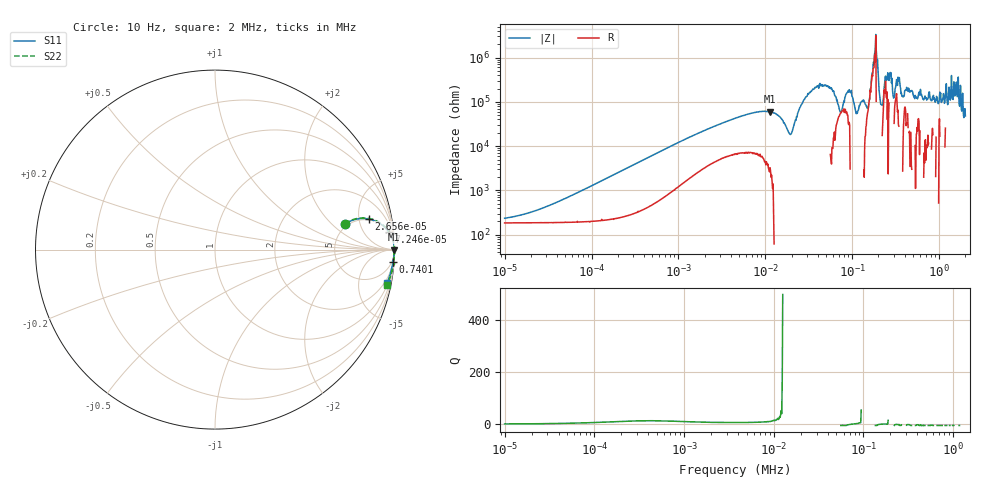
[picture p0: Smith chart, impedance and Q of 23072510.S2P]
!Agilent Technologies,E5061B,MY49204007,A.02.12
!Date: Wed Jul 23 11:12:25 2025
!Data & Calibration Information:
!Freq	S11:SOLT2(ON)	S21:SOLT2(ON)	S12:SOLT2(ON)	S22:SOLT2(ON)
# Hz S dB R 50
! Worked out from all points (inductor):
!   1040 points, 10 Hz to 2 MHz, reference 50 ohm
!   read as one part in series: L = 2.02 H near 44.94 Hz
!   highest Q = 20.3 at 11.18 kHz (marker M1), where L = 848 mH
!   self-resonance near 19.54 kHz
!   S11 on the Smith chart (normalised r, x): 10 Hz: 4.73, +2.91; 26.56 Hz: 4.78, +6.86; 72.46 Hz: 5, +18; 740.1 kHz: 2, -28; 2 MHz: 1, -10
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10  -2.66 11.1  -10.12 -27.1  -10.08 -27.1  -2.65 11.3
26.564  -1.18 11.3  -13.02 -50.0  -13.02 -50.0  -1.16 11.5
72.462  -0.24 5.8  -19.65 -72.1  -19.65 -72.0  -0.23 6.0
77.209  -0.22 5.5  -20.15 -73.1  -20.15 -73.0  -0.20 5.7
588.818  -0.01 0.8  -37.26 -84.6  -37.26 -84.5  0.00 1.0
4498.482  -0.01 0.1  -52.60 -80.8  -52.59 -80.6  0.01 0.3
11178.41  -0.01 -0.0  -55.51 -87.4  -55.56 -87.7  0.01 0.1
19544.76  -0.03 -0.1  -45.37 -172.7  -45.38 -172.6  -0.06 0.1
34305.13  -0.01 -0.2  -65.15 102.9  -65.07 104.2  0.01 0.0
54714.06  -0.01 -0.4  -66.81 90.3  -66.45 90.6  0.01 -0.1
73517.43  -0.06 -0.4  -55.17 14.0  -55.40 13.3  0.01 -0.3
92131.26  -0.01 -0.4  -65.51 -79.9  -65.24 -84.2  0.01 -0.4
112467.7  -0.01 -0.6  -55.29 170.7  -55.13 170.0  -0.04 -0.5
149553.9  -0.04 -0.9  -57.30 39.6  -57.45 41.7  0.00 -0.7
184157.1  -0.01 -1.0  -84.41 -62.0  -80.78 13.5  0.01 -0.9
215031.1  -0.02 -1.2  -58.84 117.2  -58.37 114.5  -0.03 -1.0
261946.5  -0.01 -1.4  -69.90 79.2  -70.30 85.4  -0.00 -1.3
339251.9  -0.02 -1.8  -69.78 82.6  -70.71 95.4  -0.00 -1.7
379744  -0.02 -1.9  -62.33 86.8  -61.26 87.2  -0.01 -2.0
740061.9  -0.04 -4.0  -61.64 77.2  -61.93 72.3  -0.00 -4.6
1574823  -0.15 -8.5  -69.10 175.2  -68.07 174.1  -0.11 -9.2
2000000  -0.20 -11.0  -53.86 -123.4  -53.34 -127.9  -0.20 -11.8
